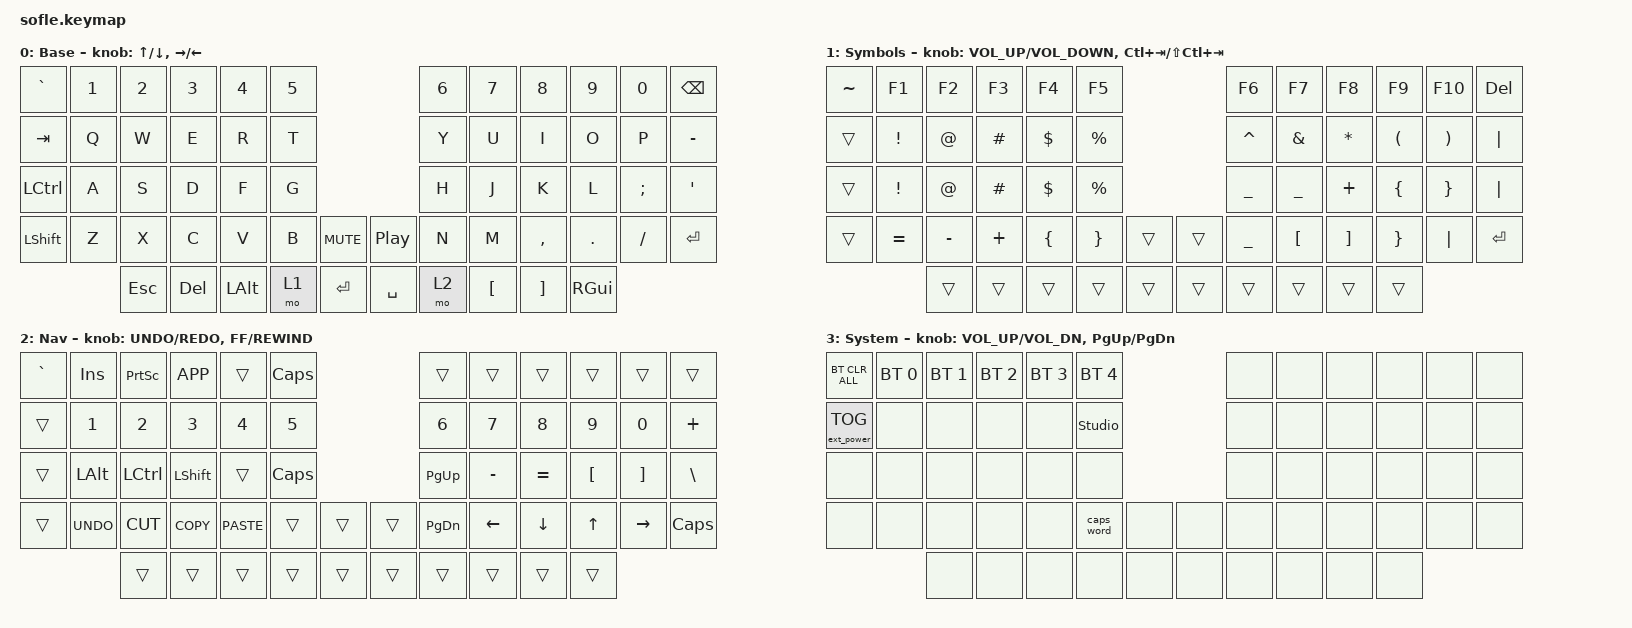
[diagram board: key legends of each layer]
/*
 * Copyright (c) 2020 The ZMK Contributors
 *
 * SPDX-License-Identifier: MIT
 */

#include <behaviors.dtsi>
#include <dt-bindings/zmk/bt.h>
#include <dt-bindings/zmk/ext_power.h>
#include <dt-bindings/zmk/keys.h>

#define BASE 0
#define LOWER 1
#define RAISE 2
#define ADJUST 3

/ {
    // Activate ADJUST layer by pressing raise and lower

    conditional_layers {
        compatible = "zmk,conditional-layers";

        adjust_layer {
            if-layers = <LOWER RAISE>;
            then-layer = <ADJUST>;
        };
    };

    combos {
        compatible = "zmk,combos";

        backspace {
            bindings = <&kp BACKSPACE>;
            key-positions = <10 11>;
        };

        delete {
            bindings = <&kp DELETE>;
            key-positions = <10 9>;
        };

        u-arrow {
            bindings = <&kp UP_ARROW>;
            key-positions = <14 15>;
        };

        d-arrow {
            bindings = <&kp DOWN_ARROW>;
            key-positions = <26 27>;
            slow-release;
        };

        r-arrow {
            bindings = <&kp RIGHT_ARROW>;
            key-positions = <28 27>;
            slow-release;
        };

        l-arrow {
            bindings = <&kp LEFT_ARROW>;
            key-positions = <25 26>;
            slow-release;
        };

        lh-backspace {
            bindings = <&kp BACKSPACE>;
            key-positions = <4 5>;
        };

        lh-delete {
            bindings = <&kp DELETE>;
            key-positions = <4 3>;
        };
    };

    behaviors {
        caps: caps {
            compatible = "zmk,behavior-caps-word";
            label = "CAPS";
            #binding-cells = <0>;
            continue-list = <POUND MINUS BACKSPACE UNDERSCORE>;
        };
    };

    keymap {
        compatible = "zmk,keymap";

        default_layer {
            display-name = "Base";

            // ------------------------------------------------------------------------------------------------------------
            // |   `   |  1  |  2  |  3   |  4   |  5   |                   |  6   |  7    |  8    |  9   |   0   |       |
            // |  ESC  |  Q  |  W  |  E   |  R   |  T   |                   |  Y   |  U    |  I    |  O   |   P   | BKSPC |
            // |  TAB  |  A  |  S  |  D   |  F   |  G   |                   |  H   |  J    |  K    |  L   |   ;   |   '   |
            // | SHIFT |  Z  |  X  |  C   |  V   |  B   |  MUTE  |  |       |  N   |  M    |  ,    |  .   |   /   | SHIFT |
            //               | GUI | ALT  | CTRL | LOWER|  ENTER |  | SPACE | RAISE| CTRL  | ALT   | GUI  |

            bindings = <
&kp GRAVE         &kp N1  &kp N2   &kp N3   &kp N4        &kp N5                                  &kp N6  &kp N7            &kp N8             &kp N9    &kp N0    &kp BACKSPACE
&kp TAB           &kp Q   &kp W    &kp E    &kp R         &kp T                                   &kp Y   &kp U             &kp I              &kp O     &kp P     &kp MINUS
&kp LEFT_CONTROL  &kp A   &kp S    &kp D    &kp F         &kp G                                   &kp H   &kp J             &kp K              &kp L     &kp SEMI  &kp APOS
&kp LEFT_SHIFT    &kp Z   &kp X    &kp C    &kp V         &kp B   &kp C_MUTE    &kp C_PLAY_PAUSE  &kp N   &kp M             &kp COMMA          &kp DOT   &kp FSLH  &kp ENTER
                          &kp ESC  &kp DEL  &kp LEFT_ALT  &mo 1   &kp ENTER     &kp SPACE         &mo 2   &kp LEFT_BRACKET  &kp RIGHT_BRACKET  &kp RGUI
            >;

            sensor-bindings =
                <&inc_dec_kp UP_ARROW DOWN_ARROW>,
                <&inc_dec_kp RIGHT_ARROW LEFT>;
        };

        lower_layer {
            display-name = "Symbols";

            // TODO: Some binds are waiting for shifted keycode support.
            // ------------------------------------------------------------------------------------------------------------
            // |       |  F1 |  F2 |  F3  |  F4  |  F5  |                   |  F6  |  F7   |  F8   |  F9  |  F10  |  F11  |
            // |   `   |  1  |  2  |  3   |  4   |  5   |                   |  6   |  7    |  8    |  9   |   0   |  F12  |
            // |       |  !  |  @  |  #   |  $   |  %   |                   |  ^   |  &    |  *    |  (   |   )   |   |   |
            // |       |  =  |  -  |  +   |  {   |  }   |        |  |       |  [   |  ]    |  ;    |  :   |   \   |       |
            //               |     |      |      |      |        |  |       |      |       |       |      |

            bindings = <
&kp TILDE  &kp F1           &kp F2     &kp F3    &kp F4      &kp F5                         &kp F6          &kp F7            &kp F8             &kp F9                &kp F10                &kp DELETE
&trans     &kp EXCLAMATION  &kp AT     &kp HASH  &kp DOLLAR  &kp PERCENT                    &kp CARET       &kp AMPERSAND     &kp ASTRK          &kp LEFT_PARENTHESIS  &kp RIGHT_PARENTHESIS  &kp PIPE
&trans     &kp EXCL         &kp AT     &kp HASH  &kp DLLR    &kp PRCNT                      &kp UNDERSCORE  &kp UNDERSCORE    &kp PLUS           &kp LEFT_BRACE        &kp RIGHT_BRACE        &kp PIPE
&trans     &kp EQUAL        &kp MINUS  &kp PLUS  &kp LBRC    &kp RBRC     &trans    &trans  &kp UNDERSCORE  &kp LEFT_BRACKET  &kp RIGHT_BRACKET  &kp RIGHT_BRACE       &kp PIPE               &kp RETURN
                            &trans     &trans    &trans      &trans       &trans    &trans  &trans          &trans            &trans             &trans
            >;

            sensor-bindings =
                <&inc_dec_kp C_VOLUME_UP C_VOLUME_DOWN>,
                <&inc_dec_kp LC(TAB) LS(LC(TAB))>;
        };

        raise_layer {
            display-name = "Nav";

            // ------------------------------------------------------------------------------------------------------------
            // | BTCLR | BT1  | BT2  |  BT3  |  BT4  |  BT5 |                |      |      |       |      |       |       |
            // |       | INS  | PSCR | GUI   |       |      |                | PGUP |      |   ^   |      |       |       |
            // |       | ALT  | CTRL | SHIFT |       | CAPS |                | PGDN |   <- |   v   |  ->  |  DEL  | BKSPC |
            // |       | UNDO | CUT  | COPY  | PASTE |      |      |  |      |      |      |       |      |       |       |
            //                |      |       |       |      |      |  |      |      |      |       |      |

            bindings = <
&kp GRAVE  &kp INS       &kp PSCRN     &kp K_APP     &trans        &kp CAPS                    &trans         &trans          &trans     &trans            &trans             &trans
&trans     &kp NUMBER_1  &kp NUMBER_2  &kp NUMBER_3  &kp NUMBER_4  &kp N5                      &kp NUMBER_6   &kp N7          &kp N8     &kp N9            &kp N0             &kp PLUS
&trans     &kp LALT      &kp LCTRL     &kp LSHFT     &trans        &kp CLCK                    &kp PG_UP      &kp MINUS       &kp EQUAL  &kp LEFT_BRACKET  &kp RIGHT_BRACKET  &kp BACKSLASH
&trans     &kp K_UNDO    &kp K_CUT     &kp K_COPY    &kp K_PASTE   &trans    &trans    &trans  &kp PAGE_DOWN  &kp LEFT_ARROW  &kp DOWN   &kp UP_ARROW      &kp RIGHT          &kp CAPS
                         &trans        &trans        &trans        &trans    &trans    &trans  &trans         &trans          &trans     &trans
            >;

            sensor-bindings =
                <&inc_dec_kp K_UNDO K_REDO>,
                <&inc_dec_kp C_FF C_REWIND>;
        };

        adjust_layer {
            // ----------------------------------------------------------------------------------------------------------------------------
            // | BTCLR  |  BT1    |  BT2    |   BT3   |   BT4   |   BT5   |                  |      |      |       |      |       |       |
            // | EXTPWR | RGB_HUD | RGB_HUI | RGB_SAD | RGB_SAI | RGB_EFF |                  |      |      |       |      |       |       |
            // |        | RGB_BRD | RGB_BRI |         |         |         |                  |      |      |       |      |       |       |
            // |        |         |         |         |         |         | RGB_TOG | |      |      |      |       |      |       |       |
            //                    |         |         |         |         |         | |      |      |      |       |      |

            display-name = "System";
            bindings = <
&bt BT_CLR_ALL     &bt BT_SEL 0  &bt BT_SEL 1  &bt BT_SEL 2  &bt BT_SEL 3  &bt BT_SEL 4                    &none  &none  &none  &none  &none  &none
&ext_power EP_TOG  &none         &none         &none         &none         &studio_unlock                  &none  &none  &none  &none  &none  &none
&none              &none         &none         &none         &none         &none                           &none  &none  &none  &none  &none  &none
&none              &none         &none         &none         &none         &caps_word      &none    &none  &none  &none  &none  &none  &none  &none
                                 &none         &none         &none         &none           &none    &none  &none  &none  &none  &none
            >;

            sensor-bindings = <&inc_dec_kp C_VOL_UP C_VOL_DN &inc_dec_kp PG_UP PG_DN>;
        };
    };
};
